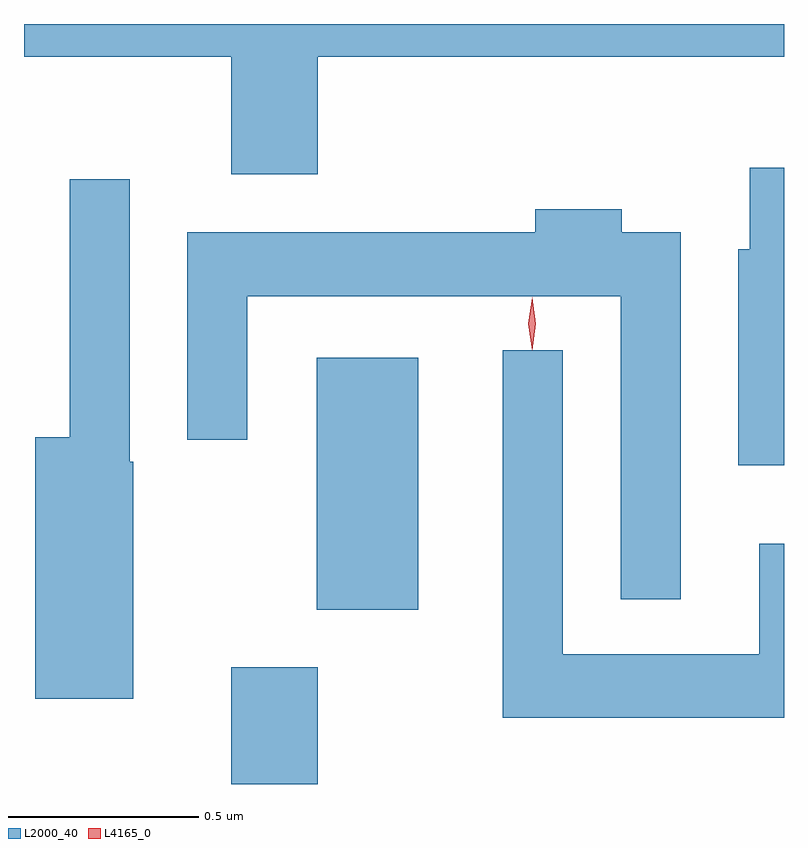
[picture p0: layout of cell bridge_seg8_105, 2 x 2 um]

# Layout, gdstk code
import gdstk
lib = gdstk.Library(unit=1e-6, precision=1e-09)
def R(c, l, rs):  # rectangles x0, y0, x1, y1
    for r in rs: c.add(gdstk.rectangle(r[:2], r[2:], *l))
def P(c, l, *ps):  # polygons
    for p in ps: c.add(gdstk.Polygon(p, *l))
L2000_40 = (2000, 40)
L4165_0 = (4165, 0)

bridge_seg8_105 = lib.new_cell('bridge_seg8_105')
R(bridge_seg8_105, L2000_40, [(1522.251,1812.302,1522.479,1812.609), (1522.476,1812.761,1522.744,1813.424)])
P(bridge_seg8_105, L2000_40, [(1522.479,1814.216),(1523.706,1814.216),(1523.706,1814.302),(1521.706,1814.302),(1521.706,1814.216),(1522.251,1814.216),(1522.251,1813.906),(1522.479,1813.906)],
  [(1523.706,1813.924),(1523.616,1813.924),(1523.616,1813.709),(1523.586,1813.709),(1523.586,1813.141),(1523.706,1813.141)],
  [(1521.994,1813.15),(1521.984,1813.15),(1521.984,1813.893),(1521.826,1813.893),(1521.826,1813.214),(1521.736,1813.214),(1521.736,1812.526),(1521.994,1812.526)],
  [(1523.434,1813.754),(1523.279,1813.754),(1523.279,1813.814),(1523.051,1813.814),(1523.051,1813.754),(1522.136,1813.754),(1522.136,1813.208),(1522.294,1813.208),(1522.294,1813.586),(1523.276,1813.586),(1523.276,1812.788),(1523.434,1812.788)],
  [(1523.706,1812.934),(1523.641,1812.934),(1523.641,1812.644),(1523.124,1812.644),(1523.124,1813.443),(1522.966,1813.443),(1522.966,1812.476),(1523.706,1812.476)])
P(bridge_seg8_105, L4165_0, [(1523.043,1813.443),(1523.043,1813.444),(1523.033,1813.513),(1523.043,1813.582),(1523.043,1813.583),(1523.044,1813.582),(1523.053,1813.513),(1523.044,1813.444)])

lib.write_gds('bridge_seg8_105.gds')
